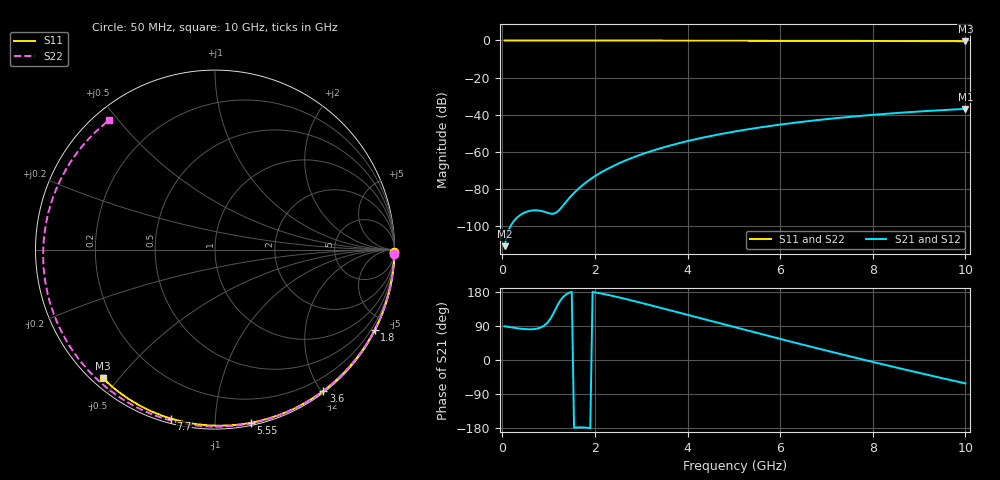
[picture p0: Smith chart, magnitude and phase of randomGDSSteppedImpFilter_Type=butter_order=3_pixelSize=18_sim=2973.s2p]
! freq	dB(S11)	phase(S11)	dB(S12)	phase(S12)
!  dB(S21)	phase(S21)	dB(S22)	phase(S22)
!S-par simulation data
#  GHz  S  DB  R 50
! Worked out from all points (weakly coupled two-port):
!   200 points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, 50 MHz to 10 GHz, reference 50 ohm
!   highest |S21| = -36.94 dB at 10 GHz (marker M1); lowest = -111.0 dB at 50 MHz (marker M2)
!   lowest |S11| = -0.4 dB at 10 GHz (marker M3), VSWR 39.24, Z = 1.54 - j22.8 ohm
!   |S11| at or under -10 dB: nowhere
!   |S22| runs from -0.6 to 0.0 dB; largest |S21 - S12| = 0
!   S11 on the Smith chart (normalised r, x): 50 MHz: open; 1.8 GHz: 0.04, -4.19; 3.6 GHz: 0.02, -2.03; 5.55 GHz: 0.02, -1.23; 7.7 GHz: 0.02, -0.77; 10 GHz: 0.03, -0.46
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0.05  -0.00 -0.8  -111.01 89.0  -111.01 89.0  -0.00 -1.4
0.4  -0.01 -6.0  -93.99 82.5  -93.99 82.5  -0.01 -11.0
0.8  -0.02 -12.0  -91.81 84.5  -91.81 84.5  -0.03 -21.8
1.6  -0.03 -23.9  -81.03 -178.1  -81.03 -178.1  -0.05 -43.1
1.65  -0.03 -24.6  -79.87 -177.8  -79.87 -177.8  -0.06 -44.4
1.75  -0.03 -26.1  -77.74 -178.0  -77.74 -178.0  -0.06 -47.0
1.8  -0.03 -26.8  -76.75 -178.4  -76.75 -178.4  -0.06 -48.3
2.1  -0.04 -31.2  -71.70 176.3  -71.70 176.3  -0.07 -56.0
2.5  -0.05 -37.0  -66.52 165.8  -66.52 165.8  -0.08 -66.0
2.9  -0.06 -42.7  -62.42 153.9  -62.42 153.9  -0.10 -75.7
3.4  -0.07 -49.7  -58.29 138.2  -58.29 138.2  -0.11 -87.5
3.6  -0.07 -52.5  -56.86 131.8  -56.86 131.8  -0.12 -92.2
4.3  -0.09 -62.0  -52.61 109.4  -52.61 109.4  -0.15 -107.9
5.05  -0.11 -71.9  -49.00 85.4  -49.00 85.4  -0.18 -124.1
5.55  -0.13 -78.4  -47.00 69.6  -47.00 69.6  -0.21 -134.6
6.15  -0.15 -86.0  -44.92 50.8  -44.92 50.8  -0.25 -147.0
6.7  -0.18 -92.7  -43.27 33.9  -43.27 33.9  -0.29 -158.3
7.2  -0.21 -98.8  -41.95 18.7  -41.95 18.7  -0.33 -168.6
7.7  -0.24 -104.7  -40.78 3.8  -40.78 3.8  -0.38 -179.0
8.35  -0.29 -112.3  -39.45 -15.3  -39.45 -15.3  -0.44 167.2
9.15  -0.36 -121.4  -38.10 -38.2  -38.10 -38.2  -0.53 149.4
10  -0.44 -131.0  -36.94 -61.7  -36.94 -61.7  -0.62 129.4
